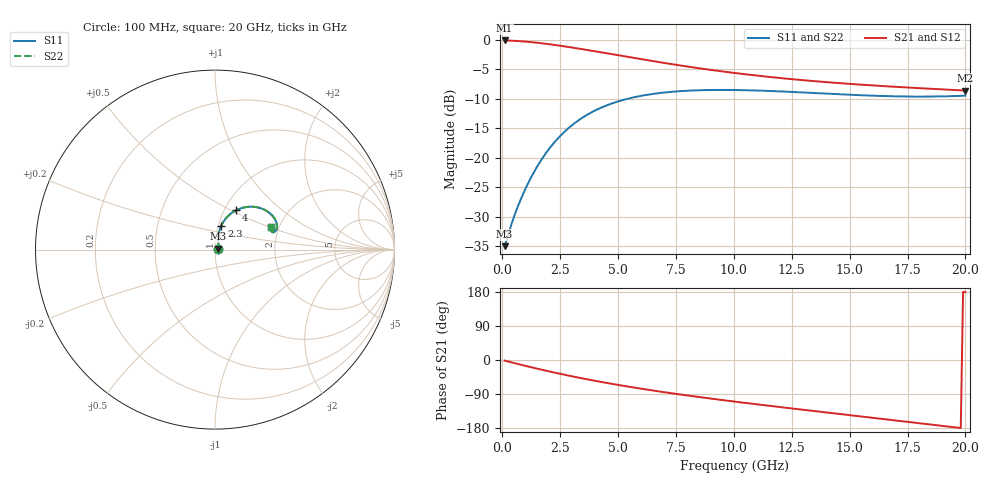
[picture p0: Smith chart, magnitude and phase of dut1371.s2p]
! Touchstone file exported from HFSS 2024.1.0
!  File:  C:/UserFiles/LocalFiles/RDL_TSV_Batchsim/temp_RDL_TSV_1371_1780398634.aedt
!  Generated:  07:26:51 PM Jun  2, 2026
!  Design:  RDL_TSV
!  Project:  temp_RDL_TSV_1371_1780398634
!  Setup:  Setup1
!  Solution:  Sweep
! Variables:
!  dtsv = 7.21um
!  hbump = 3um
!  htsv = 65.86um
!  ldown = 233.87um
!  lrdl = 480.15um
!  p = 40
!  p1 = 58.6um
!  rhole = 10um
!  subl = 2622.21um
!  t = 450um
!  tdown = 2.27um
!  trdl = 3.17um
!  viad = 10um
!  wdown = 18.02um
!  wrdl = 21.93um
!  xbump = 18um
# GHz S MA R 50.000000
! Terminal data exported
! Port[1] = TM1_1_T1
! Port[2] = TM1_4_T1
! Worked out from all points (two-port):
!   200 points, 100 MHz to 20 GHz, reference 50 ohm
!   highest |S21| = -0.15 dB at 100 MHz (marker M1); lowest = -8.6 dB at 20 GHz (marker M2)
!   |S21| within 3 dB of the highest: start of sweep to 5.743 GHz
!   lowest |S11| = -35.0 dB at 100 MHz (marker M3), VSWR 1.04, Z = 51.7 + j0.564 ohm
!   |S11| at or under -10 dB: start of sweep to 5.448 GHz
!   |S22| runs from -35.0 to -8.5 dB; largest |S21 - S12| = 1.6e-14
!   S11 on the Smith chart (normalised r, x): 100 MHz: 1.03, +0.01; 2.3 GHz: 1.03, +0.28; 4 GHz: 1.14, +0.53; 20 GHz: 1.80, +0.51
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0.1  0.01775 17.9  0.9829 -1.6  0.9829 -1.6  0.01775 17.9
! Gamma 0 0 0 0
! Port Impedance 50 0 50 0
0.4  0.02739 48.9  0.9784 -6.3  0.9784 -6.3  0.02739 48.9
0.6  0.03544 58.9  0.9739 -9.4  0.9739 -9.4  0.03544 58.9
0.8  0.0444 65.7  0.9682 -12.5  0.9682 -12.5  0.0444 65.7
1.1  0.05977 72.2  0.9577 -16.9  0.9577 -16.9  0.05977 72.2
1.4  0.07732 75.5  0.9451 -21.3  0.9451 -21.3  0.07732 75.5
1.7  0.09662 76.7  0.9307 -25.6  0.9307 -25.6  0.09662 76.7
2.3  0.1383 75.2  0.8983 -33.8  0.8983 -33.8  0.1383 75.2
2.9  0.1805 71.2  0.8629 -41.6  0.8629 -41.6  0.1806 71.2
3.5  0.2203 66.0  0.8265 -49.0  0.8265 -49.0  0.2203 66.0
4  0.2502 61.5  0.796 -54.8  0.796 -54.8  0.2502 61.5
4.6  0.2813 56.1  0.7602 -61.5  0.7602 -61.5  0.2814 56.2
5.3  0.3109 50.3  0.72 -68.9  0.72 -68.9  0.311 50.3
6.8  0.3524 39.4  0.6426 -83.3  0.6426 -83.3  0.3525 39.4
8.4  0.3714 30.5  0.575 -97.0  0.575 -97.0  0.3716 30.5
10.1  0.3736 23.7  0.519 -110.3  0.519 -110.3  0.3738 23.7
11.7  0.3659 19.4  0.4786 -122.1  0.4786 -122.1  0.3661 19.4
13.4  0.3531 17.0  0.4455 -134.2  0.4455 -134.2  0.3533 17.0
15  0.3408 16.5  0.4213 -145.5  0.4213 -145.5  0.341 16.4
16.7  0.3313 17.5  0.4007 -157.5  0.4007 -157.5  0.3315 17.5
18.3  0.3288 19.6  0.3847 -168.8  0.3847 -168.8  0.329 19.5
20  0.3346 22.1  0.3699 179.1  0.3699 179.1  0.3347 22.1
